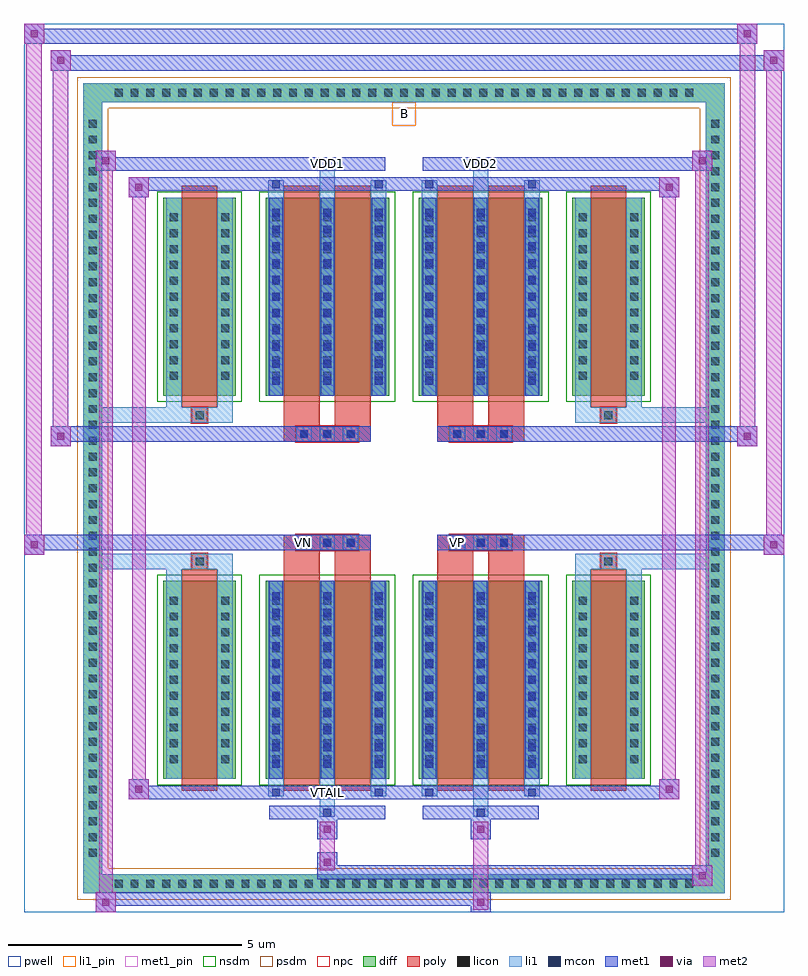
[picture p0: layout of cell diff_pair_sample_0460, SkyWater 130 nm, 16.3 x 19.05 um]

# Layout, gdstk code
import gdstk
lib = gdstk.Library(unit=1e-6, precision=5e-09)
def R(c, l, rs):  # rectangles x0, y0, x1, y1
    for r in rs: c.add(gdstk.rectangle(r[:2], r[2:], *l))
def A(c, l, x, y, w, h, nx, ny, dx, dy):  # array of equal rectangles
    R(c, l, [(x+i*dx, y+j*dy, x+i*dx+w, y+j*dy+h) for i in range(nx) for j in range(ny)])
def P(c, l, *ps):  # polygons
    for p in ps: c.add(gdstk.Polygon(p, *l))
pwell = (64, 44)
diff = (65, 20)
poly = (66, 20)
licon = (66, 44)
li1_pin = (67, 16)
li1 = (67, 20)
mcon = (67, 44)
met1_pin = (68, 16)
met1 = (68, 20)
via = (68, 44)
met2 = (69, 20)
nsdm = (93, 44)
psdm = (94, 20)
npc = (95, 20)

diff_pair_sample_0460 = lib.new_cell('diff_pair_sample_0460')
R(diff_pair_sample_0460, pwell, [(-8.15,-9.09,8.15,9.96), (-5.47,-7.28,-0.01,-0.8), (0.01,-7.28,5.47,-0.8), (-5.47,0.8,-0.01,7.28), (0.01,0.8,5.47,7.28)])
A(diff_pair_sample_0460, diff, -6.325, -8.69, 0.41, 0.41, 37, 2, 0.34, 16.97)
A(diff_pair_sample_0460, diff, -6.88, -8.025, 0.41, 0.41, 1, 47, 0, 0.34)
A(diff_pair_sample_0460, diff, 6.47, -8.025, 0.41, 0.41, 1, 47, 0, 0.34)
R(diff_pair_sample_0460, diff, [(-6.325,-8.69,6.325,-8.28), (-6.88,-8.025,-6.47,8.025), (6.47,-8.025,6.88,8.025), (-5.16,-6.235,-3.61,-1.985), (-2.97,-6.235,-0.32,-1.985), (0.32,-6.235,2.97,-1.985), (3.61,-6.235,5.16,-1.985), (-5.16,1.985,-3.61,6.235), (-2.97,1.985,-0.32,6.235), (0.32,1.985,2.97,6.235), (3.61,1.985,5.16,6.235), (-6.325,8.28,6.325,8.69)])
P(diff_pair_sample_0460, diff, [(6.88,8.69),(-6.88,8.69),(-6.88,-8.28),(-6.47,-8.28),(-6.47,8.28),(6.47,8.28),(6.47,-8.28),(-6.47,-8.28),(-6.88,-8.28),(-6.88,-8.69),(6.88,-8.69)])
A(diff_pair_sample_0460, poly, -2.31, -1.33, 0.33, 0.33, 3, 2, 0.5, 2.33)
A(diff_pair_sample_0460, poly, 0.98, -1.33, 0.33, 0.33, 3, 2, 0.5, 2.33)
R(diff_pair_sample_0460, poly, [(-4.77,-6.485,-4,-1.735), (-2.58,-6.485,-1.81,-1.735), (-1.48,-6.485,-0.71,-1.735), (0.71,-6.485,1.48,-1.735), (1.81,-6.485,2.58,-1.735), (4,-6.485,4.77,-1.735), (-4.55,-1.735,-4.22,-1.405), (-4.55,-1.735,-4.22,-1.405), (-2.58,-1.735,-1.81,-1.33), (-1.48,-1.735,-0.71,-1.33), (0.71,-1.735,1.48,-1.33), (1.81,-1.735,2.58,-1.33), (4.22,-1.735,4.55,-1.405), (4.22,-1.735,4.55,-1.405), (-2.58,-1.33,-0.71,-1), (0.71,-1.33,2.58,-1), (-2.58,1,-0.71,1.33), (0.71,1,2.58,1.33), (-2.58,1.33,-1.81,1.735), (-1.48,1.33,-0.71,1.735), (0.71,1.33,1.48,1.735), (1.81,1.33,2.58,1.735), (-4.55,1.405,-4.22,1.735), (-4.55,1.405,-4.22,1.735), (4.22,1.405,4.55,1.735), (4.22,1.405,4.55,1.735), (-4.77,1.735,-4,6.485), (-2.58,1.735,-1.81,6.485), (-1.48,1.735,-0.71,6.485), (0.71,1.735,1.48,6.485), (1.81,1.735,2.58,6.485), (4,1.735,4.77,6.485)])
A(diff_pair_sample_0460, licon, -6.205, -8.57, 0.17, 0.17, 37, 2, 0.34, 16.97)
A(diff_pair_sample_0460, licon, -6.76, -7.905, 0.17, 0.17, 1, 47, 0, 0.34)
A(diff_pair_sample_0460, licon, 6.59, -7.905, 0.17, 0.17, 1, 47, 0, 0.34)
A(diff_pair_sample_0460, licon, -5.02, -5.895, 0.17, 0.17, 1, 11, 0, 0.34)
A(diff_pair_sample_0460, licon, -3.92, -5.895, 0.17, 0.17, 1, 11, 0, 0.34)
A(diff_pair_sample_0460, licon, -2.83, -5.895, 0.17, 0.17, 3, 11, 1.1, 0.34)
A(diff_pair_sample_0460, licon, 0.46, -5.895, 0.17, 0.17, 3, 11, 1.1, 0.34)
A(diff_pair_sample_0460, licon, 3.75, -5.895, 0.17, 0.17, 1, 11, 0, 0.34)
A(diff_pair_sample_0460, licon, 4.85, -5.895, 0.17, 0.17, 1, 11, 0, 0.34)
A(diff_pair_sample_0460, licon, -2.23, -1.25, 0.17, 0.17, 3, 2, 0.5, 2.33)
A(diff_pair_sample_0460, licon, 1.06, -1.25, 0.17, 0.17, 3, 2, 0.5, 2.33)
A(diff_pair_sample_0460, licon, -5.02, 2.325, 0.17, 0.17, 1, 11, 0, 0.34)
A(diff_pair_sample_0460, licon, -3.92, 2.325, 0.17, 0.17, 1, 11, 0, 0.34)
A(diff_pair_sample_0460, licon, -2.83, 2.325, 0.17, 0.17, 3, 11, 1.1, 0.34)
A(diff_pair_sample_0460, licon, 0.46, 2.325, 0.17, 0.17, 3, 11, 1.1, 0.34)
A(diff_pair_sample_0460, licon, 3.75, 2.325, 0.17, 0.17, 1, 11, 0, 0.34)
A(diff_pair_sample_0460, licon, 4.85, 2.325, 0.17, 0.17, 1, 11, 0, 0.34)
R(diff_pair_sample_0460, licon, [(-4.47,-1.655,-4.3,-1.485), (4.3,-1.655,4.47,-1.485), (-4.47,1.485,-4.3,1.655), (4.3,1.485,4.47,1.655)])
R(diff_pair_sample_0460, li1_pin, [(-0.25,7.78,0.25,8.28)])
A(diff_pair_sample_0460, li1, -6.285, -8.65, 0.33, 0.33, 37, 2, 0.34, 16.97)
A(diff_pair_sample_0460, li1, -6.84, -7.985, 0.33, 0.33, 1, 47, 0, 0.34)
A(diff_pair_sample_0460, li1, 6.51, -7.985, 0.33, 0.33, 1, 47, 0, 0.34)
A(diff_pair_sample_0460, li1, -2.91, -6.235, 0.33, 4.25, 3, 2, 1.1, 8.22)
A(diff_pair_sample_0460, li1, 0.38, -6.235, 0.33, 4.25, 3, 2, 1.1, 8.22)
A(diff_pair_sample_0460, li1, -2.83, -5.995, 0.17, 0.17, 3, 11, 1.1, 0.36)
A(diff_pair_sample_0460, li1, -2.83, -5.995, 0.17, 3.77, 3, 2, 1.1, 8.22)
A(diff_pair_sample_0460, li1, 0.46, -5.995, 0.17, 0.17, 3, 11, 1.1, 0.36)
A(diff_pair_sample_0460, li1, 0.46, -5.995, 0.17, 3.77, 3, 2, 1.1, 8.22)
A(diff_pair_sample_0460, li1, -5.1, -5.975, 0.33, 0.33, 1, 11, 0, 0.34)
A(diff_pair_sample_0460, li1, -4, -5.975, 0.33, 0.33, 1, 11, 0, 0.34)
A(diff_pair_sample_0460, li1, -2.91, -5.975, 0.33, 0.33, 3, 11, 1.1, 0.34)
A(diff_pair_sample_0460, li1, 0.38, -5.975, 0.33, 0.33, 3, 11, 1.1, 0.34)
A(diff_pair_sample_0460, li1, 3.67, -5.975, 0.33, 0.33, 1, 11, 0, 0.34)
A(diff_pair_sample_0460, li1, 4.77, -5.975, 0.33, 0.33, 1, 11, 0, 0.34)
A(diff_pair_sample_0460, li1, -2.31, -1.33, 0.33, 0.33, 3, 2, 0.5, 2.33)
A(diff_pair_sample_0460, li1, 0.98, -1.33, 0.33, 0.33, 3, 2, 0.5, 2.33)
A(diff_pair_sample_0460, li1, -2.83, 2.225, 0.17, 0.17, 3, 11, 1.1, 0.36)
A(diff_pair_sample_0460, li1, 0.46, 2.225, 0.17, 0.17, 3, 11, 1.1, 0.36)
A(diff_pair_sample_0460, li1, -5.1, 2.245, 0.33, 0.33, 1, 11, 0, 0.34)
A(diff_pair_sample_0460, li1, -4, 2.245, 0.33, 0.33, 1, 11, 0, 0.34)
A(diff_pair_sample_0460, li1, -2.91, 2.245, 0.33, 0.33, 3, 11, 1.1, 0.34)
A(diff_pair_sample_0460, li1, 0.38, 2.245, 0.33, 0.33, 3, 11, 1.1, 0.34)
A(diff_pair_sample_0460, li1, 3.67, 2.245, 0.33, 0.33, 1, 11, 0, 0.34)
A(diff_pair_sample_0460, li1, 4.77, 2.245, 0.33, 0.33, 1, 11, 0, 0.34)
R(diff_pair_sample_0460, li1, [(-6.88,-8.69,-6.47,-8.28), (-6.88,-8.69,-6.47,-8.28), (-6.47,-8.69,6.47,-8.28), (6.47,-8.69,6.88,-8.28), (6.47,-8.69,6.88,-8.28), (-6.88,-8.28,-6.47,8.28), (6.47,-8.28,6.88,8.28), (-1.81,-7.04,-1.48,-6.235), (-1.73,-7.04,-1.56,-6.87), (1.48,-7.04,1.81,-6.235), (1.56,-7.04,1.73,-6.87), (-2.91,-6.61,-2.58,-6.235), (-2.83,-6.61,-2.66,-6.44), (-0.71,-6.61,-0.38,-6.235), (-0.63,-6.61,-0.46,-6.44), (0.38,-6.61,0.71,-6.235), (0.46,-6.61,0.63,-6.44), (2.58,-6.61,2.91,-6.235), (2.66,-6.61,2.83,-6.44), (-5.1,-6.235,-4.77,-1.985), (-4,-6.235,-3.67,-1.985), (3.67,-6.235,4,-1.985), (4.77,-6.235,5.1,-1.985), (-5.1,-1.985,-4.77,-1.405), (-4,-1.985,-3.67,-1.405), (3.67,-1.985,4,-1.405), (4.77,-1.985,5.1,-1.405), (-6.88,-1.735,-4.55,-1.405), (-5.1,-1.735,-4.55,-1.405), (-4.55,-1.735,-4.22,-1.405), (-4.22,-1.735,-3.67,-1.405), (3.67,-1.735,4.22,-1.405), (4.22,-1.735,4.55,-1.405), (4.22,-1.735,6.88,-1.405), (4.55,-1.735,5.1,-1.405), (-6.88,1.405,-4.55,1.735), (-5.1,1.405,-4.55,1.735), (-5.1,1.405,-4.77,1.985), (-4.55,1.405,-4.22,1.735), (-4.22,1.405,-3.67,1.735), (-4,1.405,-3.67,1.985), (3.67,1.405,4.22,1.735), (3.67,1.405,4,1.985), (4.22,1.405,4.55,1.735), (4.22,1.405,6.88,1.735), (4.55,1.405,5.1,1.735), (4.77,1.405,5.1,1.985), (-5.1,1.985,-4.77,6.235), (-4,1.985,-3.67,6.235), (3.67,1.985,4,6.235), (4.77,1.985,5.1,6.235), (-2.91,6.235,-2.58,6.61), (-1.81,6.235,-1.48,7.04), (-0.71,6.235,-0.38,6.61), (0.38,6.235,0.71,6.61), (1.48,6.235,1.81,7.04), (2.58,6.235,2.91,6.61), (-2.83,6.44,-2.66,6.61), (-0.63,6.44,-0.46,6.61), (0.46,6.44,0.63,6.61), (2.66,6.44,2.83,6.61), (-1.73,6.87,-1.56,7.04), (1.56,6.87,1.73,7.04), (-6.88,8.28,-6.47,8.69), (-6.88,8.28,-6.47,8.69), (-6.47,8.28,6.47,8.69), (6.47,8.28,6.88,8.69), (6.47,8.28,6.88,8.69)])
A(diff_pair_sample_0460, mcon, -2.83, -5.995, 0.17, 0.17, 3, 11, 1.1, 0.36)
A(diff_pair_sample_0460, mcon, 0.46, -5.995, 0.17, 0.17, 3, 11, 1.1, 0.36)
A(diff_pair_sample_0460, mcon, -2.23, -1.25, 0.17, 0.17, 3, 2, 0.5, 2.33)
A(diff_pair_sample_0460, mcon, 1.06, -1.25, 0.17, 0.17, 3, 2, 0.5, 2.33)
A(diff_pair_sample_0460, mcon, -2.83, 2.225, 0.17, 0.17, 3, 11, 1.1, 0.36)
A(diff_pair_sample_0460, mcon, 0.46, 2.225, 0.17, 0.17, 3, 11, 1.1, 0.36)
R(diff_pair_sample_0460, mcon, [(-1.73,-7.04,-1.56,-6.87), (1.56,-7.04,1.73,-6.87), (-2.83,-6.61,-2.66,-6.44), (-0.63,-6.61,-0.46,-6.44), (0.46,-6.61,0.63,-6.44), (2.66,-6.61,2.83,-6.44), (-2.83,6.44,-2.66,6.61), (-0.63,6.44,-0.46,6.61), (0.46,6.44,0.63,6.61), (2.66,6.44,2.83,6.61), (-1.73,6.87,-1.56,7.04), (1.56,6.87,1.73,7.04)])
R(diff_pair_sample_0460, met1_pin, [(-1.78,-6.65,-1.51,-6.38), (-2.28,-1.29,-2.01,-1.02), (1.01,-1.29,1.28,-1.02), (-1.78,6.83,-1.51,7.1), (1.51,6.83,1.78,7.1)])
A(diff_pair_sample_0460, met1, -2.89, -6.235, 0.29, 4.25, 3, 2, 1.1, 8.22)
A(diff_pair_sample_0460, met1, 0.4, -6.235, 0.29, 4.25, 3, 2, 1.1, 8.22)
A(diff_pair_sample_0460, met1, -2.89, -6.055, 0.29, 0.29, 3, 11, 1.1, 0.36)
A(diff_pair_sample_0460, met1, 0.4, -6.055, 0.29, 0.29, 3, 11, 1.1, 0.36)
A(diff_pair_sample_0460, met1, -2.29, -1.31, 0.29, 0.29, 3, 2, 0.5, 2.33)
A(diff_pair_sample_0460, met1, 1, -1.31, 0.29, 0.29, 3, 2, 0.5, 2.33)
A(diff_pair_sample_0460, met1, -2.89, 2.165, 0.29, 0.29, 3, 11, 1.1, 0.36)
A(diff_pair_sample_0460, met1, 0.4, 2.165, 0.29, 0.29, 3, 11, 1.1, 0.36)
R(diff_pair_sample_0460, met1, [(-6.61,-9.09,-6.18,-8.66), (1.43,-9.09,1.86,-8.66), (-6.61,-8.95,1.86,-8.66), (6.18,-8.52,6.61,-8.09), (-1.86,-8.38,6.61,-8.09), (-1.86,-8.24,-1.43,-7.81), (-1.86,-7.53,-1.43,-7.1), (1.43,-7.53,1.86,-7.1), (-2.89,-7.1,-0.4,-6.81), (-1.79,-7.1,-1.5,-6.81), (0.4,-7.1,2.89,-6.81), (1.5,-7.1,1.79,-6.81), (-5.9,-6.67,-5.47,-6.24), (-5.9,-6.67,-2.89,-6.38), (-2.89,-6.67,-2.6,-6.38), (-2.89,-6.67,-0.4,-6.38), (-0.69,-6.67,-0.4,-6.38), (-0.4,-6.67,0.4,-6.38), (0.4,-6.67,0.69,-6.38), (0.4,-6.67,2.89,-6.38), (2.6,-6.67,2.89,-6.38), (2.89,-6.67,5.9,-6.38), (5.47,-6.67,5.9,-6.24), (-8.15,-1.43,-7.72,-1), (7.72,-1.43,8.15,-1), (-8.15,-1.33,-0.71,-1), (-2.58,-1.33,-0.71,-1), (0.71,-1.33,2.58,-1), (0.71,-1.33,8.15,-1), (-7.58,0.9,-7.15,1.33), (7.15,0.9,7.58,1.33), (-7.58,1,-2.58,1.33), (-2.58,1,-0.71,1.33), (0.71,1,2.58,1.33), (2.58,1,7.58,1.33), (-5.9,6.24,-5.47,6.67), (5.47,6.24,5.9,6.67), (-5.9,6.38,-2.89,6.67), (-2.89,6.38,-2.6,6.67), (-2.89,6.38,-0.4,6.67), (-0.69,6.38,-0.4,6.67), (-0.4,6.38,0.4,6.67), (0.4,6.38,0.69,6.67), (0.4,6.38,2.89,6.67), (2.6,6.38,2.89,6.67), (2.89,6.38,5.9,6.67), (-6.61,6.81,-6.18,7.24), (-6.61,6.81,-2.89,7.1), (-2.89,6.81,-0.4,7.1), (-1.79,6.81,-1.5,7.1), (0.4,6.81,2.89,7.1), (1.5,6.81,1.79,7.1), (2.89,6.81,6.61,7.1), (6.18,6.81,6.61,7.24), (-7.58,8.96,-7.15,9.39), (-7.58,8.96,-5.47,9.29), (-5.47,8.96,5.47,9.29), (5.47,8.96,8.15,9.29), (7.72,8.96,8.15,9.39), (-8.15,9.53,-7.72,9.96), (-8.15,9.53,-5.47,9.86), (-5.47,9.53,5.47,9.86), (5.47,9.53,7.58,9.86), (7.15,9.53,7.58,9.96)])
R(diff_pair_sample_0460, via, [(-6.47,-8.95,-6.32,-8.8), (1.57,-8.95,1.72,-8.8), (6.32,-8.38,6.47,-8.23), (-1.72,-8.1,-1.57,-7.95), (-1.72,-7.39,-1.57,-7.24), (1.57,-7.39,1.72,-7.24), (-5.76,-6.53,-5.61,-6.38), (5.61,-6.53,5.76,-6.38), (-8.01,-1.29,-7.86,-1.14), (7.86,-1.29,8.01,-1.14), (-7.44,1.04,-7.29,1.19), (7.29,1.04,7.44,1.19), (-5.76,6.38,-5.61,6.53), (5.61,6.38,5.76,6.53), (-6.47,6.95,-6.32,7.1), (6.32,6.95,6.47,7.1), (-7.44,9.1,-7.29,9.25), (7.86,9.1,8.01,9.25), (-8.01,9.67,-7.86,9.82), (7.29,9.67,7.44,9.82)])
R(diff_pair_sample_0460, met2, [(-6.61,-9.09,-6.18,-8.66), (-6.54,-9.09,-6.25,7.24), (-6.25,-9.09,-6.18,-8.66), (-6.56,-9.04,-6.23,-8.71), (1.48,-9.04,1.81,-8.71), (1.48,-8.71,1.81,-7.48), (6.18,-8.52,6.61,-8.09), (6.25,-8.52,6.54,7.24), (6.54,-8.52,6.61,-8.09), (6.23,-8.47,6.56,-8.14), (-1.81,-8.19,-1.48,-7.86), (-1.81,-7.86,-1.48,-7.48), (-1.81,-7.48,-1.48,-7.15), (1.48,-7.48,1.81,-7.15), (-5.9,-6.67,-5.47,-6.24), (-5.83,-6.67,-5.54,6.67), (-5.54,-6.67,-5.47,-6.24), (5.47,-6.67,5.9,-6.24), (5.54,-6.67,5.83,6.67), (5.83,-6.67,5.9,-6.24), (-5.85,-6.62,-5.52,-6.29), (5.52,-6.62,5.85,-6.29), (-8.15,-1.43,-7.72,-1), (-8.1,-1.43,-7.77,9.96), (-7.77,-1.43,-7.72,-1), (7.72,-1.43,8.15,-1), (7.77,-1.43,8.1,9.39), (8.1,-1.43,8.15,-1), (-8.1,-1.38,-7.77,-1.05), (7.77,-1.38,8.1,-1.05), (-7.58,0.9,-7.15,1.33), (-7.53,0.9,-7.2,9.39), (-7.2,0.9,-7.15,1.33), (7.15,0.9,7.58,1.33), (7.2,0.9,7.53,9.96), (7.53,0.9,7.58,1.33), (-7.53,0.95,-7.2,1.28), (7.2,0.95,7.53,1.28), (-5.9,6.24,-5.47,6.67), (-5.54,6.24,-5.47,6.67), (5.47,6.24,5.9,6.67), (5.83,6.24,5.9,6.67), (-5.85,6.29,-5.52,6.62), (5.52,6.29,5.85,6.62), (-6.61,6.81,-6.18,7.24), (-6.25,6.81,-6.18,7.24), (6.18,6.81,6.61,7.24), (6.54,6.81,6.61,7.24), (-6.56,6.86,-6.23,7.19), (6.23,6.86,6.56,7.19), (-7.58,8.96,-7.15,9.39), (-7.2,8.96,-7.15,9.39), (7.72,8.96,8.15,9.39), (8.1,8.96,8.15,9.39), (-7.53,9.01,-7.2,9.34), (7.77,9.01,8.1,9.34), (-8.15,9.53,-7.72,9.96), (-7.77,9.53,-7.72,9.96), (7.15,9.53,7.58,9.96), (7.53,9.53,7.58,9.96), (-8.1,9.58,-7.77,9.91), (7.2,9.58,7.53,9.91)])
R(diff_pair_sample_0460, nsdm, [(-5.29,-6.365,-3.48,-1.855), (-3.1,-6.365,-0.19,-1.855), (0.19,-6.365,3.1,-1.855), (3.48,-6.365,5.29,-1.855), (-5.29,1.855,-3.48,6.365), (-3.1,1.855,-0.19,6.365), (0.19,1.855,3.1,6.365), (3.48,1.855,5.29,6.365)])
P(diff_pair_sample_0460, psdm, [(7.01,8.82),(-7.01,8.82),(-7.01,-8.15),(-6.34,-8.15),(-6.34,8.15),(6.34,8.15),(6.34,-8.15),(-6.34,-8.15),(-7.01,-8.15),(-7.01,-8.82),(7.01,-8.82)])
A(diff_pair_sample_0460, npc, -2.33, -1.35, 0.37, 0.37, 3, 2, 0.5, 2.33)
A(diff_pair_sample_0460, npc, 0.96, -1.35, 0.37, 0.37, 3, 2, 0.5, 2.33)
R(diff_pair_sample_0460, npc, [(-4.57,-1.755,-4.2,-1.385), (4.2,-1.755,4.57,-1.385), (-2.33,-1.35,-1.46,-0.98), (-2.33,-1.35,-1.46,-0.98), (-1.83,-1.35,-0.96,-0.98), (-1.83,-1.35,-0.96,-0.98), (0.96,-1.35,1.83,-0.98), (0.96,-1.35,1.83,-0.98), (1.46,-1.35,2.33,-0.98), (1.46,-1.35,2.33,-0.98), (-2.33,0.98,-1.46,1.35), (-2.33,0.98,-1.46,1.35), (-1.83,0.98,-0.96,1.35), (-1.83,0.98,-0.96,1.35), (0.96,0.98,1.83,1.35), (0.96,0.98,1.83,1.35), (1.46,0.98,2.33,1.35), (1.46,0.98,2.33,1.35), (-4.57,1.385,-4.2,1.755), (4.2,1.385,4.57,1.755)])
diff_pair_sample_0460.add(gdstk.Label('VTAIL', (-1.645,-6.515), layer=68, texttype=5))
diff_pair_sample_0460.add(gdstk.Label('VN', (-2.145,-1.155), layer=68, texttype=5))
diff_pair_sample_0460.add(gdstk.Label('VP', (1.145,-1.155), layer=68, texttype=5))
diff_pair_sample_0460.add(gdstk.Label('B', (0,8.03), layer=67, texttype=5))
diff_pair_sample_0460.add(gdstk.Label('VDD2', (1.645,6.965), layer=68, texttype=5))
diff_pair_sample_0460.add(gdstk.Label('VDD1', (-1.645,6.965), layer=68, texttype=5))

lib.write_gds('diff_pair_sample_0460.gds')
